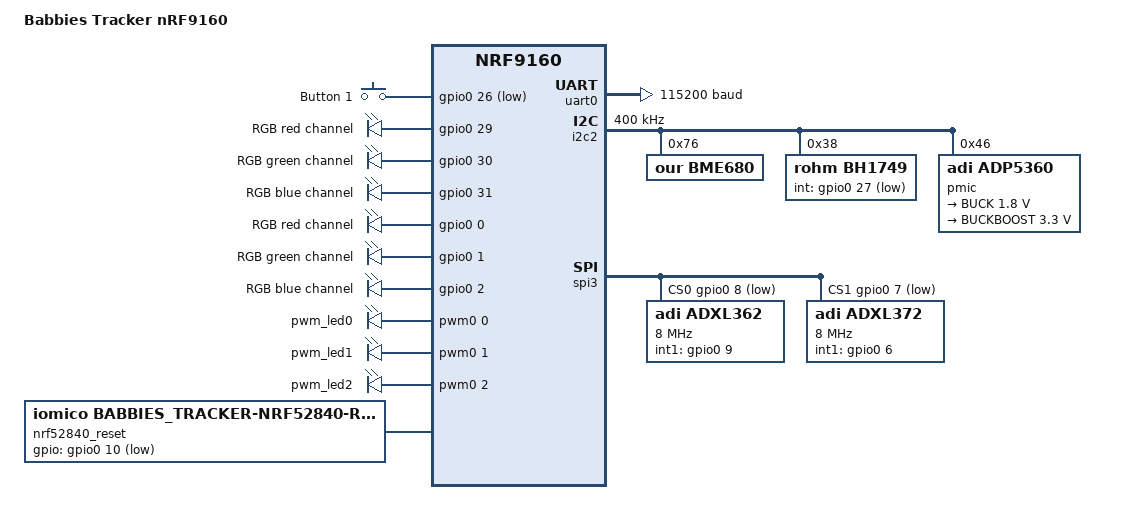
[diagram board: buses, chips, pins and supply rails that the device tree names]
#include "babbies_tracker_nrf9160_common-pinctrl.dtsi" /* 2. IMPORT YOUR PIN MAPS */

/ {
    model = "Babbies Tracker nRF9160";
    compatible = "babbies_tracker,nrf9160";

    /**< CHOSEN NODES: Tell Zephyr which hardware to use for system functions */
   chosen {
		zephyr,console = &uart0;
		zephyr,shell-uart = &uart0;
		zephyr,uart-mcumgr = &uart0;
	};
    /**< HARDWARE NODES: Define things connected to GPIOs */
	/**< Push Buttons */
	buttons {
		compatible = "gpio-keys";
		button0: button_0 {
			gpios = <&gpio0 26 (GPIO_PULL_UP | GPIO_ACTIVE_LOW)>;
			label = "Button 1";
		};
	};
	/**< On/Off toggle LEDs */	
    leds {
		compatible = "gpio-leds";
		red_led: led_1 {
			gpios = <&gpio0 29 0>;
			label = "RGB red channel";
		};
		green_led: led_2 {
			gpios = <&gpio0 30 0>;
			label = "RGB green channel";
		};
		blue_led: led_3 {
			gpios = <&gpio0 31 0>;
			label = "RGB blue channel";
		};
		sense_red_led: led_4 {
			gpios = <&gpio0 0 0>;
			label = "RGB red channel";
		};
		sense_green_led: led_5 {
			gpios = <&gpio0 1 0>;
			label = "RGB green channel";
		};
		sense_blue_led: led_6 {
			gpios = <&gpio0 2 0>;
			label = "RGB blue channel";
		};
	};
	/**< PWM channels */
	pwmleds {
		compatible = "pwm-leds";
		pwm_led0: pwm_led_0 {
			pwms = <&pwm0 0 PWM_MSEC(8) PWM_POLARITY_NORMAL>;
		};
		pwm_led1: pwm_led_1 {
			pwms = <&pwm0 1 PWM_MSEC(8) PWM_POLARITY_NORMAL>;
		};
		pwm_led2: pwm_led_2 {
			pwms = <&pwm0 2 PWM_MSEC(8) PWM_POLARITY_NORMAL>;
		};
	};
	/**< nRF52840 Reset Pin */
	nrf52840_reset: gpio-reset {
		compatible = "iomico,babbies_tracker-nrf52840-reset";
		status = "okay";
		gpios = <&gpio0 10 GPIO_ACTIVE_LOW>;
	};
    /**< ALIASES: Give friendly names to hardware */
    aliases {
		sw0 = &button0;
		led0 = &red_led;
		led1 = &green_led;
		led2 = &blue_led;
		sense-led0 = &sense_red_led;
		sense-led1 = &sense_green_led;
		sense-led2 = &sense_blue_led;
		pwm-led0 = &pwm_led0;
		pwm-led1 = &pwm_led1;
		pwm-led2 = &pwm_led2;
		rgb-pwm = &pwm0;
		nmos-pwm = &pwm2;
		mcuboot-button0 = &button0;
		mcuboot-led0 = &blue_led;
	};
};

/**< ENABLE PERIPHERALS: Turn on the SoC blocks you need */
/**< Enable UART0 for console, shell, and mcumgr */
&uart0 {
	compatible = "nordic,nrf-uarte";
	current-speed = <115200>;
	status = "okay";
	pinctrl-0 = <&uart0_default>;
	pinctrl-1 = <&uart0_sleep>;
	pinctrl-names = "default", "sleep";
};
/**< Disable UART1 (not used) */
&uart1 {
	current-speed = <1000000>;
	status = "disabled";
	pinctrl-0 = <&uart1_default>;
	pinctrl-1 = <&uart1_sleep>;
	pinctrl-names = "default", "sleep";
};
/**< Enable GPIOs */
&gpiote {
	status = "okay";
};
&gpio0 {
	status = "okay";
};
/**< Enable I2C and connected devices */
&i2c2 {
	compatible = "nordic,nrf-twim";
	status = "okay";
	clock-frequency = <I2C_BITRATE_FAST>;

	pinctrl-0 = <&i2c2_default>;
	pinctrl-1 = <&i2c2_sleep>;
	pinctrl-names = "default", "sleep";
	/**< Connected I2C devices */
	/**< BME680 Environmental Sensor */
	bme680: bme680@76 {
		compatible = "our,bme680";
		reg = <0x76>;
	};
	/**< BH1749 Color Sensor */
	bh1749: bh1749@38 {
		compatible = "rohm,bh1749";
		reg = <0x38>;
		int-gpios = <&gpio0 27 (GPIO_PULL_UP | GPIO_ACTIVE_LOW)>;
	};
	/**< ADP5360 Power Management IC */
	pmic@46 {
		compatible = "adi,adp5360";
		reg = <0x46>;

		regulators {
			compatible = "adi,adp5360-regulator";

			BUCK {
				regulator-min-microvolt = <1800000>;
				regulator-max-microvolt = <1800000>;
				regulator-init-microvolt = <1800000>;
				regulator-always-on;
				adi,enable-output-discharge;
			};

			BUCKBOOST {
				regulator-min-microvolt = <3300000>;
				regulator-max-microvolt = <3300000>;
				regulator-init-microvolt = <3300000>;
				regulator-always-on;
			};
		};
	};
};

&spi3 {
	compatible = "nordic,nrf-spim";
	status = "okay";
	cs-gpios = <&gpio0 8 GPIO_ACTIVE_LOW>, <&gpio0 7 GPIO_ACTIVE_LOW>;

	pinctrl-0 = <&spi3_default>;
	pinctrl-1 = <&spi3_sleep>;
	pinctrl-names = "default", "sleep";
	adxl362: adxl362@0 {
		compatible = "adi,adxl362";
		spi-max-frequency = <8000000>;
		reg = <0>;
		int1-gpios = <&gpio0 9 0>;
	};

	adxl372: adxl372@1 {
		compatible = "adi,adxl372";
		spi-max-frequency = <8000000>;
		reg = <1>;
		int1-gpios = <&gpio0 6 0>;
	};
};

&flash0 {
	/*
	 * For more information, see:
	 * http://docs.zephyrproject.org/devices/dts/flash_partitions.html
	 */
	partitions {
		compatible = "fixed-partitions";
		#address-cells = <1>;
		#size-cells = <1>;

		boot_partition: partition@0 {
			label = "mcuboot";
			reg = <0x00000000 0x10000>;
		};
		slot0_partition: partition@10000 {
			label = "image-0";
		};
		slot0_ns_partition: partition@40000 {
			label = "image-0-nonsecure";
		};
		slot1_partition: partition@80000 {
			label = "image-1";
		};
		slot1_ns_partition: partition@b0000 {
			label = "image-1-nonsecure";
		};
		scratch_partition: partition@f0000 {
			label = "image-scratch";
			reg = <0x000f0000 0xa000>;
		};
		storage_partition: partition@fa000 {
			label = "nvs-storage";
			reg = <0x000fa000 0x00006000>;
		};
	};
};

/ {

	reserved-memory {
		#address-cells = <1>;
		#size-cells = <1>;
		ranges;

		sram0_s: image_s@20000000 {
			/* Secure image memory */
		};

		sram0_bsd: image_bsd@20010000 {
			/* BSD (shared) memory */
		};

		sram0_ns: image_ns@20020000 {
			/* Non-Secure image memory */
		};
	};
};

/* Include partition configuration file */
#include "babbies_tracker_nrf9160_partition_conf.dtsi"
